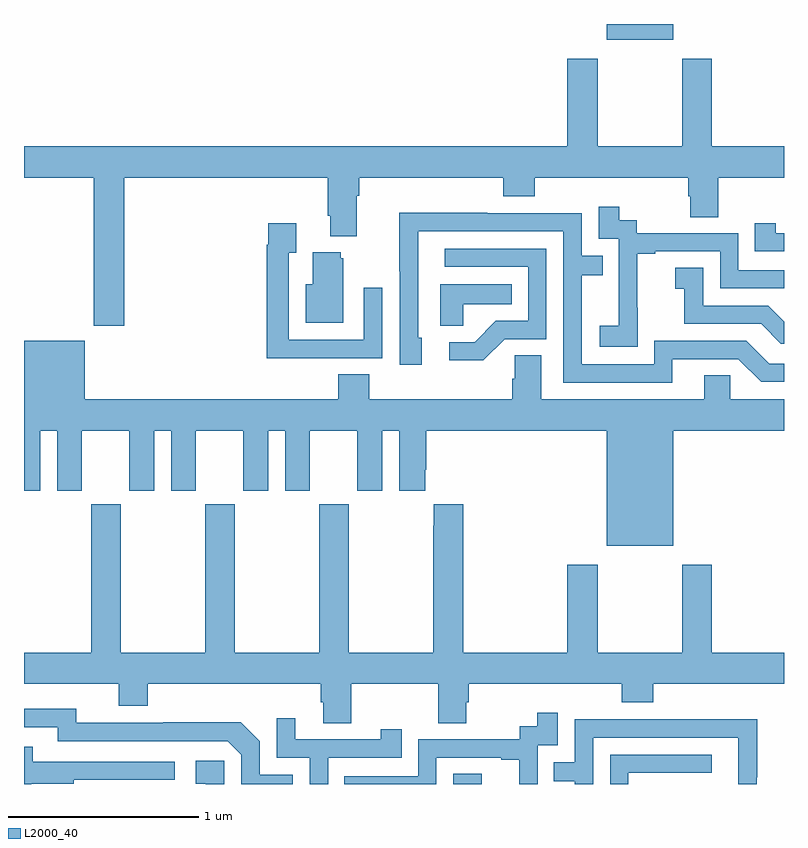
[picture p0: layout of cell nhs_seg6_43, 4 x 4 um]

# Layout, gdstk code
import gdstk
lib = gdstk.Library(unit=1e-6, precision=1e-09)
def R(c, l, rs):  # rectangles x0, y0, x1, y1
    for r in rs: c.add(gdstk.rectangle(r[:2], r[2:], *l))
def P(c, l, *ps):  # polygons
    for p in ps: c.add(gdstk.Polygon(p, *l))
L2000_40 = (2000, 40)

nhs_seg6_43 = lib.new_cell('nhs_seg6_43')
R(nhs_seg6_43, L2000_40, [(115.26,921.5,115.408,921.553), (116.066,925.418,116.416,925.5)])
P(nhs_seg6_43, L2000_40, [(113.528,924.692),(114.599,924.692),(114.599,924.49),(114.611,924.49),(114.611,924.383),(114.751,924.383),(114.751,924.596),(114.764,924.596),(114.764,924.692),(115.523,924.692),(115.523,924.593),(115.688,924.593),(115.688,924.692),(116.495,924.692),(116.495,924.594),(116.507,924.594),(116.507,924.484),(116.655,924.484),(116.655,924.692),(117,924.692),(117,924.856),(116.619,924.856),(116.619,925.318),(116.464,925.318),(116.464,924.856),(116.019,924.856),(116.019,925.318),(115.859,925.318),(115.859,924.856),(113,924.856),(113,924.692),(113.368,924.692),(113.368,923.913),(113.528,923.913)],
  [(116.229,924.007),(116.228,924.007),(116.228,924.291),(116.323,924.291),(116.323,924.303),(116.664,924.303),(116.664,924.108),(117,924.108),(117,924.204),(116.76,924.204),(116.76,924.399),(116.226,924.399),(116.226,924.468),(116.134,924.468),(116.134,924.538),(116.025,924.538),(116.025,924.369),(116.13,924.369),(116.13,924.14),(116.129,924.14),(116.129,923.911),(116.031,923.911),(116.031,923.801),(116.229,923.801)],
  [(116.413,923.736),(116.76,923.736),(116.88,923.616),(117,923.616),(117,923.712),(116.922,923.712),(116.802,923.832),(116.316,923.832),(116.316,923.709),(115.935,923.709),(115.935,924.178),(116.045,924.178),(116.045,924.279),(115.935,924.279),(115.935,924.504),(115.439,924.504),(115.439,924.506),(114.976,924.506),(114.976,924.199),(114.978,924.199),(114.978,923.706),(115.093,923.706),(115.093,923.85),(115.074,923.85),(115.074,924.408),(115.839,924.408),(115.839,923.613),(116.413,923.613)],
  [(114.569,923.742),(114.885,923.742),(114.885,924.112),(114.789,924.112),(114.789,923.838),(114.393,923.838),(114.393,924.295),(114.433,924.295),(114.433,924.451),(114.285,924.451),(114.285,924.338),(114.277,924.338),(114.277,923.741),(114.569,923.741)],
  [(117,924.399),(116.956,924.399),(116.956,924.451),(116.845,924.451),(116.845,924.303),(117,924.303)],
  [(115.53,923.841),(115.749,923.841),(115.749,924.318),(115.215,924.318),(115.215,924.222),(115.653,924.222),(115.653,923.937),(115.484,923.937),(115.373,923.826),(115.239,923.826),(115.239,923.729),(115.417,923.729)],
  [(114.679,924.267),(114.668,924.267),(114.668,924.298),(114.521,924.298),(114.521,924.13),(114.482,924.13),(114.482,923.927),(114.679,923.927)],
  [(117,923.934),(116.916,924.018),(116.574,924.018),(116.574,924.217),(116.427,924.217),(116.427,924.107),(116.476,924.107),(116.476,923.922),(116.879,923.922),(116.984,923.817),(117,923.817)],
  [(115.311,924.026),(115.568,924.026),(115.568,924.13),(115.19,924.13),(115.19,923.911),(115.311,923.911)],
  [(116.416,923.36),(117,923.36),(117,923.524),(116.718,923.524),(116.718,923.651),(116.579,923.651),(116.579,923.524),(115.723,923.524),(115.723,923.756),(115.584,923.756),(115.584,923.633),(115.571,923.633),(115.571,923.524),(114.818,923.524),(114.818,923.657),(114.653,923.657),(114.653,923.524),(113.32,923.524),(113.32,923.833),(113,923.833),(113,923.043),(113.086,923.043),(113.086,923.36),(113.174,923.36),(113.174,923.043),(113.305,923.043),(113.305,923.36),(113.555,923.36),(113.555,923.043),(113.686,923.043),(113.686,923.36),(113.774,923.36),(113.774,923.043),(113.905,923.043),(113.905,923.36),(114.155,923.36),(114.155,923.043),(114.286,923.043),(114.286,923.36),(114.374,923.36),(114.374,923.043),(114.505,923.043),(114.505,923.36),(114.755,923.36),(114.755,923.043),(114.886,923.043),(114.886,923.36),(114.974,923.36),(114.974,923.043),(115.111,923.043),(115.111,923.155),(115.118,923.155),(115.118,923.36),(116.066,923.36),(116.066,922.754),(116.416,922.754)],
  [(114.723,922.028),(115.18,922.028),(115.18,921.82),(115.327,921.82),(115.327,921.93),(115.34,921.93),(115.34,922.028),(116.147,922.028),(116.147,921.929),(116.312,921.929),(116.312,922.028),(117,922.028),(117,922.192),(116.619,922.192),(116.619,922.654),(116.464,922.654),(116.464,922.192),(116.019,922.192),(116.019,922.654),(115.859,922.654),(115.859,922.192),(115.313,922.192),(115.313,922.972),(115.157,922.972),(115.157,922.859),(115.153,922.859),(115.153,922.192),(114.708,922.192),(114.708,922.972),(114.553,922.972),(114.553,922.192),(114.108,922.192),(114.108,922.972),(113.953,922.972),(113.953,922.192),(113.508,922.192),(113.508,922.972),(113.353,922.972),(113.353,922.192),(113,922.192),(113,922.028),(113.498,922.028),(113.498,921.911),(113.651,921.911),(113.651,922.028),(114.563,922.028),(114.563,921.93),(114.575,921.93),(114.575,921.82),(114.723,921.82)],
  [(114.414,921.549),(114.24,921.549),(114.24,921.726),(114.142,921.824),(113.734,921.824),(113.734,921.822),(113.274,921.822),(113.274,921.895),(113,921.895),(113,921.798),(113.178,921.798),(113.178,921.726),(114.072,921.726),(114.144,921.654),(114.144,921.5),(114.414,921.5)],
  [(115.17,921.639),(115.511,921.639),(115.511,921.627),(115.607,921.627),(115.607,921.5),(115.704,921.5),(115.704,921.705),(115.809,921.705),(115.809,921.874),(115.701,921.874),(115.701,921.804),(115.608,921.804),(115.608,921.735),(115.074,921.735),(115.074,921.54),(114.685,921.54),(114.685,921.5),(115.17,921.5)],
  [(114.6,921.639),(114.989,921.639),(114.989,921.787),(114.878,921.787),(114.878,921.735),(114.427,921.735),(114.427,921.847),(114.33,921.847),(114.33,921.639),(114.504,921.639),(114.504,921.5),(114.6,921.5)],
  [(115.995,921.744),(116.76,921.744),(116.76,921.5),(116.856,921.5),(116.856,921.535),(116.859,921.535),(116.859,921.842),(116.395,921.842),(116.395,921.84),(115.899,921.84),(115.899,921.615),(115.789,921.615),(115.789,921.514),(115.899,921.514),(115.899,921.5),(115.995,921.5)],
  [(113.038,921.502),(113.261,921.502),(113.261,921.522),(113.794,921.522),(113.794,921.618),(113.045,921.618),(113.045,921.697),(113,921.697),(113,921.5),(113.038,921.5)],
  [(116.181,921.558),(116.62,921.558),(116.62,921.654),(116.085,921.654),(116.085,921.5),(116.181,921.5)],
  [(114.054,921.622),(113.904,921.622),(113.904,921.501),(113.957,921.501),(113.957,921.5),(114.054,921.5)])

lib.write_gds('nhs_seg6_43.gds')
